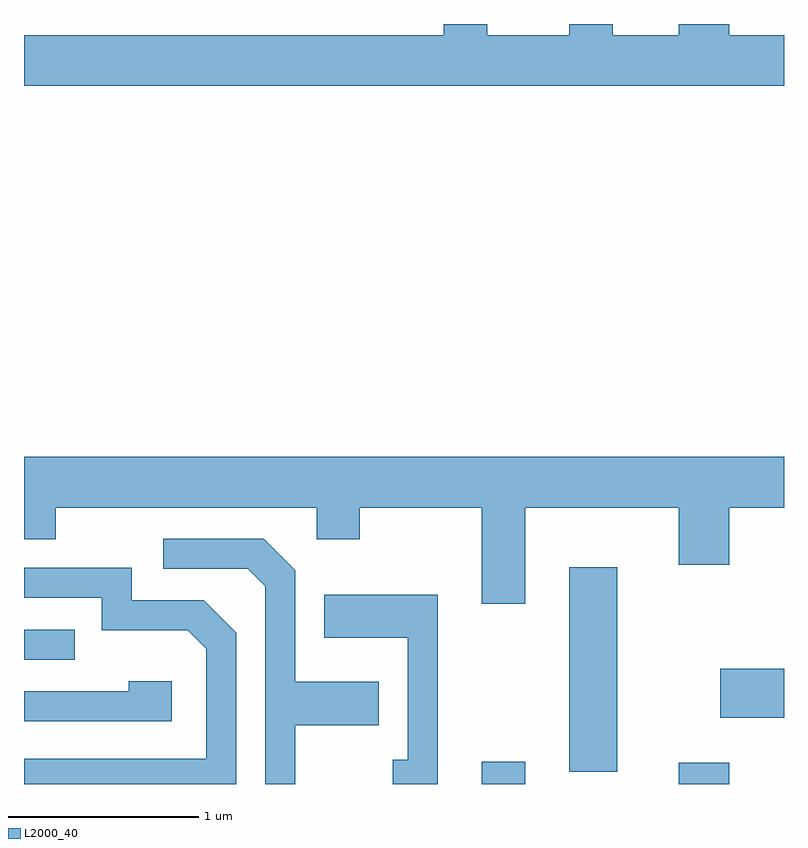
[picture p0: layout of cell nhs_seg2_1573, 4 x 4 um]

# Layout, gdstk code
import gdstk
lib = gdstk.Library(unit=1e-6, precision=1e-09)
def R(c, l, rs):  # rectangles x0, y0, x1, y1
    for r in rs: c.add(gdstk.rectangle(r[:2], r[2:], *l))
def P(c, l, *ps):  # polygons
    for p in ps: c.add(gdstk.Polygon(p, *l))
L2000_40 = (2000, 40)

nhs_seg2_1573 = lib.new_cell('nhs_seg2_1573')
R(nhs_seg2_1573, L2000_40, [(234.021,995.802,234.249,995.919), (235.056,995.802,235.324,995.914), (234.481,995.866,234.734,996.944), (235.276,996.151,235.611,996.409), (231.611,996.456,231.878,996.614)])
P(nhs_seg2_1573, L2000_40, [(235.611,999.744),(235.324,999.744),(235.324,999.802),(235.056,999.802),(235.056,999.744),(234.709,999.744),(234.709,999.802),(234.481,999.802),(234.481,999.744),(234.049,999.744),(234.049,999.802),(233.821,999.802),(233.821,999.744),(231.611,999.744),(231.611,999.476),(235.611,999.476)],
  [(234.249,997.256),(235.056,997.256),(235.056,996.956),(235.324,996.956),(235.324,997.256),(235.611,997.256),(235.611,997.524),(231.611,997.524),(231.611,997.091),(231.779,997.091),(231.779,997.256),(233.151,997.256),(233.151,997.091),(233.379,997.091),(233.379,997.256),(234.021,997.256),(234.021,996.751),(234.249,996.751)],
  [(233.039,996.111),(233.479,996.111),(233.479,996.339),(233.039,996.339),(233.039,996.927),(232.872,997.094),(232.343,997.094),(232.343,996.936),(232.789,996.936),(232.881,996.844),(232.881,995.802),(233.039,995.802)],
  [(232.729,996.597),(232.557,996.769),(232.179,996.769),(232.179,996.939),(231.611,996.939),(231.611,996.781),(232.021,996.781),(232.021,996.611),(232.474,996.611),(232.571,996.514),(232.571,995.934),(231.611,995.934),(231.611,995.802),(232.729,995.802)],
  [(233.789,996.799),(233.191,996.799),(233.191,996.571),(233.631,996.571),(233.631,995.929),(233.553,995.929),(233.553,995.802),(233.789,995.802)],
  [(232.389,996.344),(232.161,996.344),(232.161,996.289),(231.611,996.289),(231.611,996.131),(232.389,996.131)])

lib.write_gds('nhs_seg2_1573.gds')
